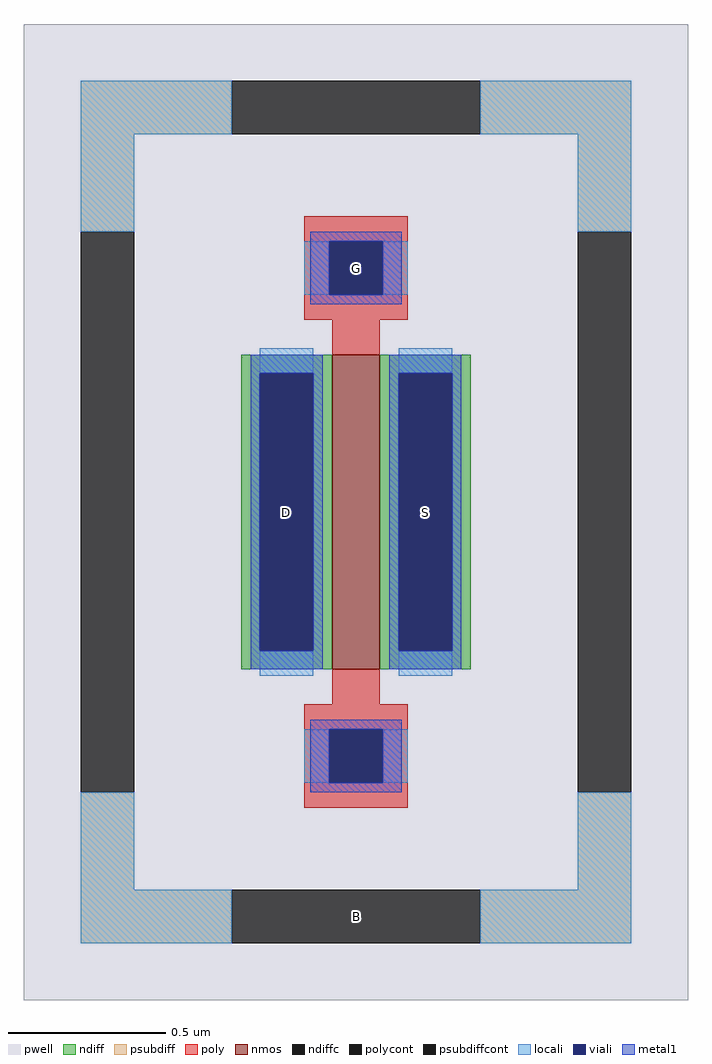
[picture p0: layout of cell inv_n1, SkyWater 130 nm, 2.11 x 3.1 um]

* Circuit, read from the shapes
.subckt inv_n1 B D S G
XM1 S G D B sky130_fd_pr__nfet_01v8 w=1 l=0.15
.ends

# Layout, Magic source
magic
tech sky130A
magscale 1 2
<< pwell >>
rect -211 -310 211 310
<< nmos >>
rect -15 -100 15 100
<< ndiff >>
rect -73 88 -15 100
rect -73 -88 -61 88
rect -27 -88 -15 88
rect -73 -100 -15 -88
rect 15 88 73 100
rect 15 -88 27 88
rect 61 -88 73 88
rect 15 -100 73 -88
<< ndiffc >>
rect -61 -88 -27 88
rect 27 -88 61 88
<< psubdiff >>
rect -175 240 -79 274
rect 79 240 175 274
rect -175 178 -141 240
rect 141 178 175 240
rect -175 -240 -141 -178
rect 141 -240 175 -178
rect -175 -274 -79 -240
rect 79 -274 175 -240
<< psubdiffcont >>
rect -79 240 79 274
rect -175 -178 -141 178
rect 141 -178 175 178
rect -79 -274 79 -240
<< poly >>
rect -33 172 33 188
rect -33 138 -17 172
rect 17 138 33 172
rect -33 122 33 138
rect -15 100 15 122
rect -15 -122 15 -100
rect -33 -138 33 -122
rect -33 -172 -17 -138
rect 17 -172 33 -138
rect -33 -188 33 -172
<< polycont >>
rect -17 138 17 172
rect -17 -172 17 -138
<< locali >>
rect -175 240 -79 274
rect 79 240 175 274
rect -175 178 -141 240
rect 141 178 175 240
rect -33 138 -17 172
rect 17 138 33 172
rect -61 88 -27 104
rect -61 -104 -27 -88
rect 27 88 61 104
rect 27 -104 61 -88
rect -33 -172 -17 -138
rect 17 -172 33 -138
rect -175 -240 -141 -178
rect 141 -240 175 -178
rect -175 -274 -79 -240
rect 79 -274 175 -240
<< viali >>
rect -17 138 17 172
rect -61 -88 -27 88
rect 27 -88 61 88
rect -17 -172 17 -138
<< metal1 >>
rect -29 172 29 178
rect -29 138 -17 172
rect 17 138 29 172
rect -29 132 29 138
rect -67 88 -21 100
rect -67 -88 -61 88
rect -27 -88 -21 88
rect -67 -100 -21 -88
rect 21 88 67 100
rect 21 -88 27 88
rect 61 -88 67 88
rect 21 -100 67 -88
rect -29 -138 29 -132
rect -29 -172 -17 -138
rect 17 -172 29 -138
rect -29 -178 29 -172
<< labels >>
rlabel psubdiffcont 0 -257 0 -257 0 B
port 1 nsew
rlabel ndiffc -44 0 -44 0 0 D
port 2 nsew
rlabel ndiffc 44 0 44 0 0 S
port 3 nsew
rlabel polycont 0 155 0 155 0 G
port 4 nsew
<< properties >>
string FIXED_BBOX -158 -257 158 257
<< end >>
